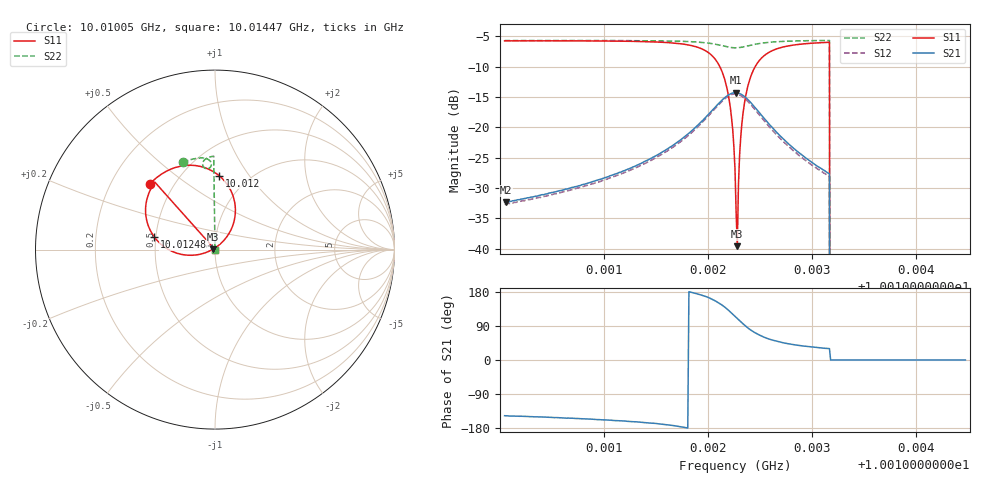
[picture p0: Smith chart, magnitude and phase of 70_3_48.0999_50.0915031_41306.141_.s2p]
#  HZ  S  RI  R  50.00
! Rohde & Schwarz Vector Network Analyzer
! Rohde-Schwarz,ZNB20-2Port,1311601062101988,3.16
! Created: UTC 12/23/2023, 3:41:40 AM
! freq[Hz]  re:S11  im:S11  re:S21  im:S21  re:S12  im:S12  re:S22  im:S22
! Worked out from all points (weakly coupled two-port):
!   401 points, 10.01005 GHz to 10.01447 GHz, reference 50 ohm
!   highest |S21| = -14.30 dB at 10.01227 GHz (marker M1); lowest = -32.4 dB at 10.01006 GHz (marker M2)
!   lowest |S11| = -39.6 dB at 10.01228 GHz (marker M3), VSWR 1.02, Z = 49 + j0.248 ohm
!   |S11| at or under -10 dB: 10.01211 GHz to 10.01245 GHz (339.5 kHz wide, 0.00339 % of centre); 10.01317 GHz to end of sweep
!   |S22| runs from - to -5.7 dB; largest |S21 - S12| = 0.0092
!   S11 on the Smith chart (normalised r, x): 10.01005 GHz: 0.37, +0.37; 10.012 GHz: 0.74, +0.73; 10.01248 GHz: 0.49, +0.08; 10.01447 GHz: 1.00, +0.00
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1.0010046e10  -0.3624 0.368  -0.0202 -0.0131  -0.0188 -0.0137  -0.1787 0.4871
1.0010057e10  -0.3617 0.3687  -0.0203 -0.013  -0.0188 -0.0136  -0.1779 0.4874
1.0010787e10  -0.3066 0.4149  -0.0305 -0.0141  -0.0286 -0.015  -0.1305 0.5028
1.0011529e10  -0.1978 0.4635  -0.059 -0.012  -0.0562 -0.0144  -0.0751 0.511
1.0012005e10  0.0227 0.4119  -0.1234 0.0338  -0.1216 0.0264  -0.0271 0.4937
1.0012115e10  0.1011 0.2971  -0.1377 0.0845  -0.1385 0.0754  -0.0203 0.4754
1.0012182e10  0.1105 0.1791  -0.1279 0.1285  -0.1303 0.1206  -0.0243 0.4611
1.0012226e10  0.0784 0.0904  -0.1059 0.1582  -0.1102 0.1501  -0.0324 0.4533
1.0012259e10  0.0312 0.0328  -0.0822 0.1744  -0.0862 0.1676  -0.0408 0.4504
1.001227e10  0.0111 0.0163  -0.073 0.1785  -0.0769 0.1718  -0.0437 0.4502
1.0012281e10  -0.0102 0.00253  -0.0641 0.1814  -0.0677 0.1749  -0.0466 0.4503
1.0012292e10  -0.0324 -0.00903  -0.0548 0.1833  -0.0583 0.1769  -0.0494 0.4508
1.0012326e10  -0.104 -0.0296  -0.0262 0.1839  -0.0306 0.1777  -0.0575 0.4542
1.0012348e10  -0.1503 -0.0314  -0.00878 0.18  -0.013 0.1739  -0.0617 0.4579
1.0012403e10  -0.251 -0.00398  0.0268 0.1604  0.0211 0.1551  -0.068 0.469
1.0012481e10  -0.3374 0.0693  0.0518 0.1261  0.0462 0.122  -0.0678 0.4841
1.0012658e10  -0.3868 0.2153  0.0591 0.0697  0.0537 0.0685  -0.0529 0.505
1.0013001e10  -0.3543 0.3442  0.0424 0.0287  0.039 0.0291  -0.0209 0.5179
1.0013145e10  -0.3371 0.3716  0.0366 0.0215  0.0338 0.0221  -0.00917 0.5199
1.00132e10  0 0  0 0  0 0  0 0
1.0013742e10  0 0  0 0  0 0  0 0
1.0014473e10  0 0  0 0  0 0  0 0
